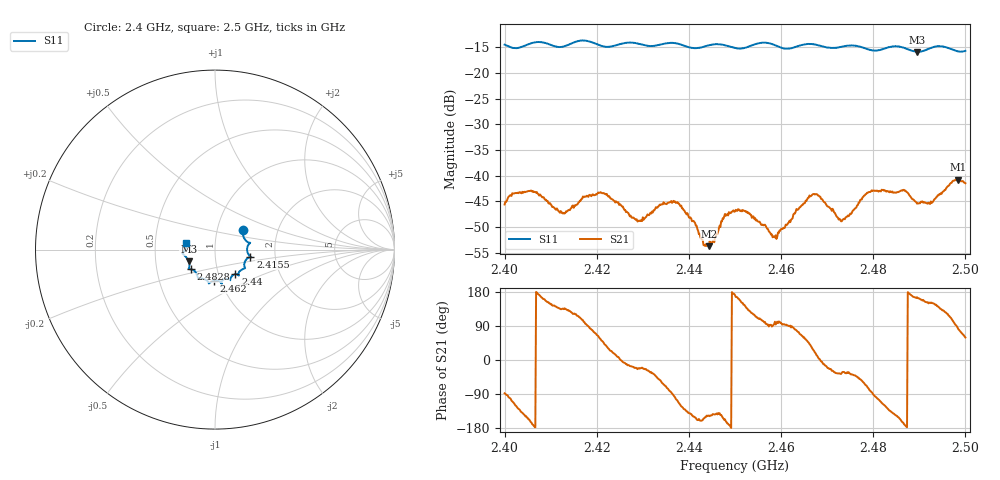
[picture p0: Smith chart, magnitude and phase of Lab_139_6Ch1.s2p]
# Hz S RI R 50
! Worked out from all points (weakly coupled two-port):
!   601 points, 2.4 GHz to 2.5 GHz, reference 50 ohm
!   highest |S21| = -40.81 dB at 2.4985 GHz (marker M1); lowest = -53.7 dB at 2.4443 GHz (marker M2)
!   lowest |S11| = -15.9 dB at 2.4895 GHz (marker M3), VSWR 1.38, Z = 37 - j5 ohm
!   |S11| at or under -10 dB: start of sweep to end of sweep
!   S12 and S22 are empty: the file has one direction only
!   S11 on the Smith chart (normalised r, x): 2.4 GHz: 1.33, +0.29; 2.4155 GHz: 1.49, -0.12; 2.44 GHz: 1.20, -0.34; 2.462 GHz: 0.93, -0.33; 2.4828 GHz: 0.74, -0.17; 2.5 GHz: 0.72, +0.06
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2.4e9  0.1552 0.1069  0.000188 -0.00522  0 0  0 0
2.405667e9  0.1898 0.0383  -0.00684 -0.00203  0 0  0 0
2.4125e9  0.1794 -0.00761  -0.0031 0.00308  0 0  0 0
2.4155e9  0.1975 -0.0395  -0.00264 0.00445  0 0  0 0
2.416667e9  0.2022 -0.0426  -0.00184 0.00561  0 0  0 0
2.421667e9  0.17 -0.0604  0.00496 0.00442  0 0  0 0
2.429333e9  0.159 -0.1067  0.00334 -0.00139  0 0  0 0
2.433333e9  0.1308 -0.1336  0.00324 -0.00381  0 0  0 0
2.437167e9  0.1317 -0.1431  -0.00122 -0.00528  0 0  0 0
2.44e9  0.1139 -0.1365  -0.00302 -0.0025  0 0  0 0
2.444333e9  0.085 -0.1653  -0.00172 -0.00112  0 0  0 0
2.45e9  0.0649 -0.1626  -0.00442 0.000694  0 0  0 0
2.458667e9  0.0333 -0.1833  -0.000477 0.00245  0 0  0 0
2.462e9  -0.00495 -0.1731  -5.18e-05 0.00352  0 0  0 0
2.466667e9  -0.0344 -0.1881  0.00542 0.00348  0 0  0 0
2.473333e9  -0.083 -0.1602  0.00318 -0.00195  0 0  0 0
2.478667e9  -0.1015 -0.1376  0.00234 -0.00639  0 0  0 0
2.482833e9  -0.1364 -0.1095  -0.00394 -0.00575  0 0  0 0
2.483333e9  -0.1402 -0.1093  -0.00459 -0.00529  0 0  0 0
2.4895e9  -0.1462 -0.0659  -0.00516 0.00133  0 0  0 0
2.4985e9  -0.1612 0.013  0.00143 0.00899  0 0  0 0
2.5e9  -0.1595 0.0389  0.00429 0.00725  0 0  0 0
